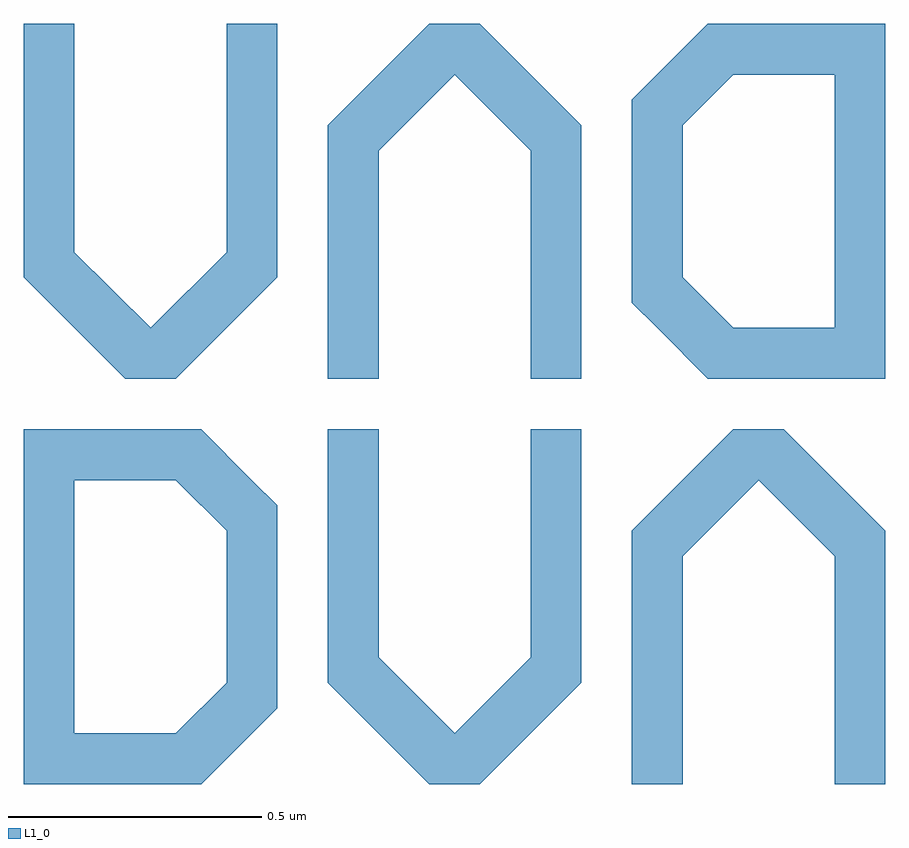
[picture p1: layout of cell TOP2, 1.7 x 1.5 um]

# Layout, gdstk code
from math import pi, radians
import gdstk
lib = gdstk.Library(unit=1e-6, precision=1e-09)
def P(c, l, *ps):  # polygons
    for p in ps: c.add(gdstk.Polygon(p, *l))
L1_0 = (1, 0)

text_3 = lib.new_cell('TEXT$3')
P(text_3, L1_0, [(0,0),(0,0.7),(0.35,0.7),(0.45,0.6),(0.1,0.6),(0.1,0.1),(0.3,0.1),(0.4,0.2),(0.4,0.5),(0.3,0.6),(0.45,0.6),(0.5,0.55),(0.5,0.15),(0.35,0)])

text_6 = lib.new_cell('TEXT$6')
P(text_6, L1_0, [(0.2,0),(0,0.2),(0,0.7),(0.1,0.7),(0.1,0.25),(0.25,0.1),(0.4,0.25),(0.4,0.7),(0.5,0.7),(0.5,0.2),(0.3,0)])

c_v = lib.new_cell('V')
c_v.add(gdstk.Reference(text_6, (0,0)))

c_d = lib.new_cell('D')
c_d.add(gdstk.Reference(text_3, (0,0)))
c_d.add(gdstk.Reference(c_v, (0.6,0)))
c_d.add(gdstk.Reference(c_v, (1.7,0.7), rotation=pi))

top2 = lib.new_cell('TOP2')
top2.add(gdstk.Reference(c_d, (0,0)))
top2.add(gdstk.Reference(c_d, (1.7,1.5), rotation=pi))

lib.write_gds('TOP2.gds')
